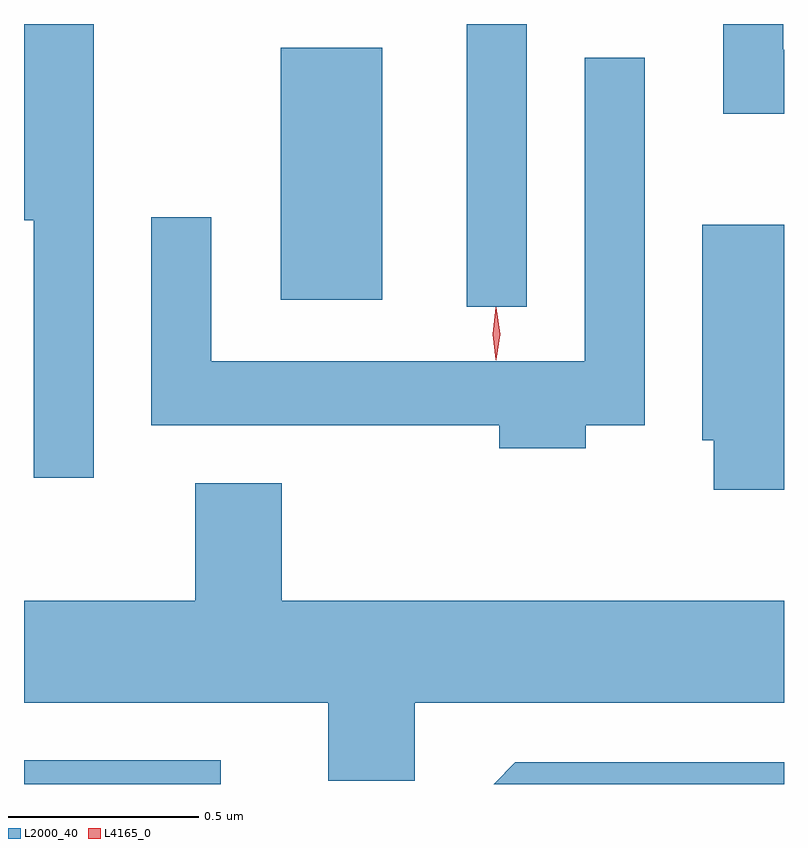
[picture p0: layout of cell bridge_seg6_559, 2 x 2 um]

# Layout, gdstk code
import gdstk
lib = gdstk.Library(unit=1e-6, precision=1e-09)
def R(c, l, rs):  # rectangles x0, y0, x1, y1
    for r in rs: c.add(gdstk.rectangle(r[:2], r[2:], *l))
def P(c, l, *ps):  # polygons
    for p in ps: c.add(gdstk.Polygon(p, *l))
L2000_40 = (2000, 40)
L4165_0 = (4165, 0)

bridge_seg6_559 = lib.new_cell('bridge_seg6_559')
R(bridge_seg6_559, L2000_40, [(528.721,1649.722,529.239,1649.784), (529.886,1650.978,530.044,1651.722), (529.396,1650.996,529.664,1651.659)])
P(bridge_seg6_559, L2000_40, [(528.904,1651.722),(528.721,1651.722),(528.721,1651.206),(528.746,1651.206),(528.746,1650.528),(528.904,1650.528)],
  [(530.721,1651.654),(530.719,1651.654),(530.719,1651.722),(530.561,1651.722),(530.561,1651.486),(530.721,1651.486)],
  [(530.199,1650.666),(530.354,1650.666),(530.354,1651.633),(530.196,1651.633),(530.196,1650.834),(529.214,1650.834),(529.214,1651.213),(529.056,1651.213),(529.056,1650.666),(529.971,1650.666),(529.971,1650.606),(530.199,1650.606)],
  [(530.721,1651.194),(530.506,1651.194),(530.506,1650.626),(530.536,1650.626),(530.536,1650.496),(530.721,1650.496)],
  [(529.749,1649.936),(530.721,1649.936),(530.721,1650.204),(529.399,1650.204),(529.399,1650.514),(529.171,1650.514),(529.171,1650.204),(528.721,1650.204),(528.721,1649.936),(529.521,1649.936),(529.521,1649.731),(529.749,1649.731)],
  [(530.721,1649.779),(530.014,1649.779),(529.957,1649.722),(530.721,1649.722)])
P(bridge_seg6_559, L4165_0, [(529.964,1650.837),(529.963,1650.838),(529.954,1650.906),(529.963,1650.976),(529.964,1650.976),(529.964,1650.976),(529.974,1650.906),(529.964,1650.838)],
  [(529.964,1650.839),(529.963,1650.84),(529.954,1650.906),(529.963,1650.972),(529.964,1650.973),(529.964,1650.972),(529.974,1650.906),(529.964,1650.84)])

lib.write_gds('bridge_seg6_559.gds')
